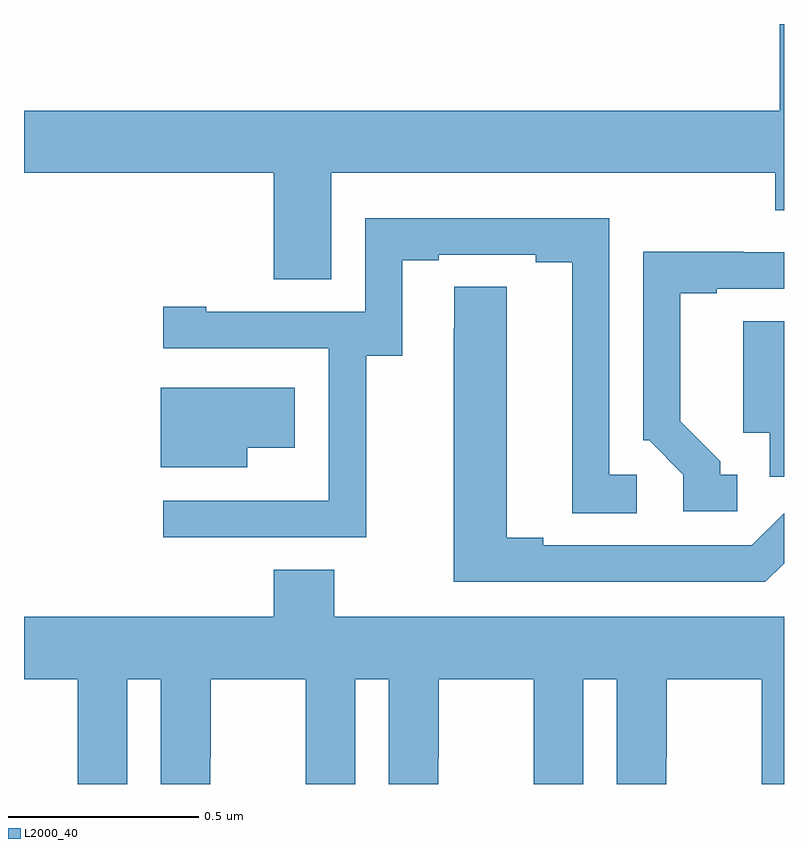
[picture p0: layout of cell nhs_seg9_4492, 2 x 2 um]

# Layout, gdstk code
import gdstk
lib = gdstk.Library(unit=1e-6, precision=1e-09)
def P(c, l, *ps):  # polygons
    for p in ps: c.add(gdstk.Polygon(p, *l))
L2000_40 = (2000, 40)

nhs_seg9_4492 = lib.new_cell('nhs_seg9_4492')
P(nhs_seg9_4492, L2000_40, [(167.809,1175.108),(168.977,1175.108),(168.977,1175.01),(169,1175.01),(169,1175.5),(168.989,1175.5),(168.989,1175.272),(167,1175.272),(167,1175.108),(167.657,1175.108),(167.657,1174.828),(167.809,1174.828)],
  [(167.901,1174.627),(167.995,1174.627),(167.995,1174.878),(168.091,1174.878),(168.091,1174.893),(168.347,1174.893),(168.347,1174.873),(168.443,1174.873),(168.443,1174.213),(168.613,1174.213),(168.613,1174.314),(168.54,1174.314),(168.54,1174.989),(167.898,1174.989),(167.898,1174.743),(167.479,1174.743),(167.479,1174.756),(167.367,1174.756),(167.367,1174.647),(167.802,1174.647),(167.802,1174.246),(167.801,1174.246),(167.801,1174.245),(167.367,1174.245),(167.367,1174.149),(167.901,1174.149)],
  [(168.877,1174.314),(168.832,1174.314),(168.832,1174.349),(168.727,1174.454),(168.727,1174.791),(168.823,1174.791),(168.823,1174.803),(169,1174.803),(169,1174.899),(168.893,1174.899),(168.893,1174.901),(168.63,1174.901),(168.63,1174.404),(168.645,1174.404),(168.735,1174.314),(168.735,1174.218),(168.877,1174.218)],
  [(169,1174.081),(169,1174.213),(168.915,1174.128),(168.367,1174.128),(168.367,1174.148),(168.271,1174.148),(168.271,1174.808),(168.132,1174.808),(168.132,1174.7),(168.131,1174.7),(168.131,1174.032),(168.951,1174.032)],
  [(169,1174.718),(168.893,1174.718),(168.893,1174.424),(168.962,1174.424),(168.962,1174.309),(169,1174.309)],
  [(167.587,1174.385),(167.713,1174.385),(167.713,1174.543),(167.36,1174.543),(167.36,1174.334),(167.587,1174.334)],
  [(167.272,1173.776),(167.36,1173.776),(167.36,1173.5),(167.49,1173.5),(167.49,1173.568),(167.491,1173.568),(167.491,1173.776),(167.741,1173.776),(167.741,1173.568),(167.742,1173.568),(167.742,1173.5),(167.872,1173.5),(167.872,1173.776),(167.96,1173.776),(167.96,1173.5),(168.09,1173.5),(168.09,1173.568),(168.091,1173.568),(168.091,1173.776),(168.341,1173.776),(168.341,1173.568),(168.342,1173.568),(168.342,1173.5),(168.472,1173.5),(168.472,1173.776),(168.56,1173.776),(168.56,1173.5),(168.69,1173.5),(168.69,1173.568),(168.691,1173.568),(168.691,1173.776),(168.941,1173.776),(168.941,1173.568),(168.942,1173.568),(168.942,1173.5),(169,1173.5),(169,1173.94),(167.817,1173.94),(167.817,1174.064),(167.657,1174.064),(167.657,1173.94),(167,1173.94),(167,1173.776),(167.141,1173.776),(167.141,1173.568),(167.142,1173.568),(167.142,1173.5),(167.272,1173.5)])

lib.write_gds('nhs_seg9_4492.gds')
